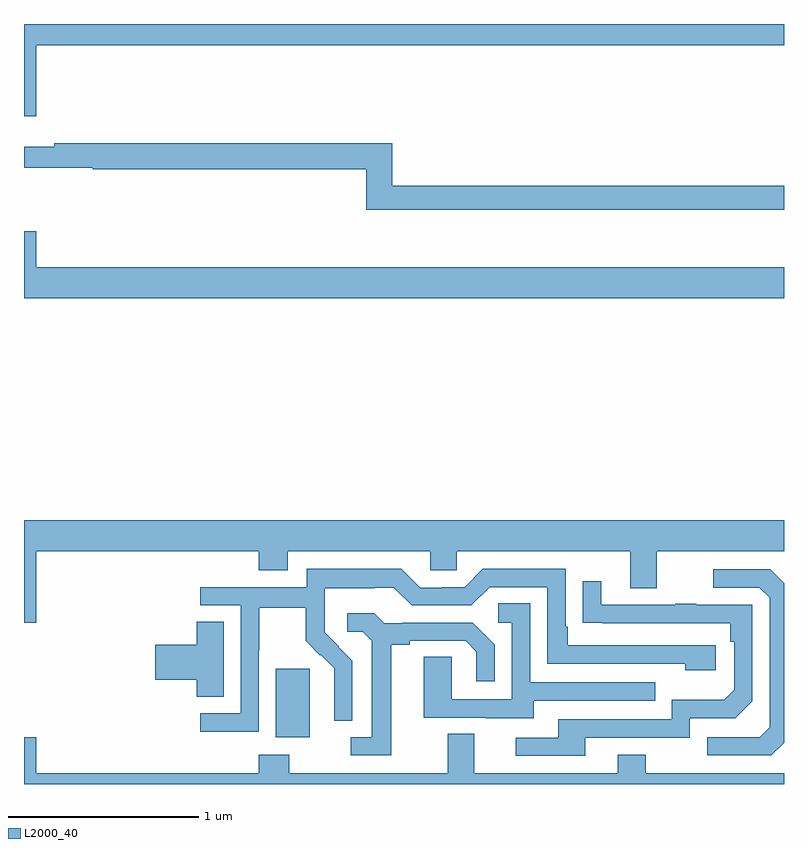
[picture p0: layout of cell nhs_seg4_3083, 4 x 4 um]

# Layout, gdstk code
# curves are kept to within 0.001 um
import gdstk
lib = gdstk.Library(unit=1e-6, precision=1e-09)
def R(c, l, rs):  # rectangles x0, y0, x1, y1
    for r in rs: c.add(gdstk.rectangle(r[:2], r[2:], *l))
def P(c, l, *ps):  # polygons
    for p in ps: c.add(gdstk.Polygon(p, *l))
L2000_40 = (2000, 40)

nhs_seg4_3083 = lib.new_cell('nhs_seg4_3083')
R(nhs_seg4_3083, L2000_40, [(274.325,825.146,274.504,825.507)])
P(nhs_seg4_3083, L2000_40, [(273.064,828.788),(277,828.788),(277,828.9),(273,828.9),(273,828.414),(273.064,828.414)],
  [(277,828.05),(274.937,828.05),(274.937,828.272),(273.16,828.272),(273.16,828.253),(273,828.253),(273,828.144),(273.362,828.144),(273.362,828.136),(274.801,828.136),(274.801,827.922),(277,827.922)],
  [(277,827.62),(273.064,827.62),(273.064,827.809),(273,827.809),(273,827.456),(277,827.456)],
  [(273,825.75),(273.064,825.75),(273.064,826.124),(274.235,826.124),(274.235,826.025),(274.387,826.025),(274.387,826.124),(275.139,826.124),(275.139,826.026),(275.277,826.026),(275.277,826.124),(276.191,826.124),(276.191,825.93),(276.331,825.93),(276.331,826.124),(277,826.124),(277,826.288),(273,826.288)],
  [(274.236,825.604),(274.239,825.604),(274.239,825.828),(274.483,825.828),(274.483,825.653),(274.56,825.576),(274.563,825.579),(274.634,825.509),(274.634,825.386),(274.632,825.386),(274.632,825.232),(274.728,825.232),(274.728,825.55),(274.582,825.698),(274.582,825.795),(274.584,825.795),(274.584,825.929),(274.847,825.929),(274.847,825.933),(274.947,825.933),(275.04,825.84),(275.355,825.84),(275.451,825.936),(275.754,825.936),(275.754,825.534),(276.479,825.534),(276.479,825.5),(276.64,825.5),(276.64,825.63),(275.863,825.63),(275.863,825.727),(275.85,825.727),(275.85,826.032),(275.415,826.032),(275.319,825.936),(275.201,825.936),(275.201,825.933),(275.085,825.933),(274.985,826.033),(274.488,826.033),(274.488,825.936),(273.927,825.936),(273.927,825.84),(274.14,825.84),(274.14,825.273),(273.927,825.273),(273.927,825.175),(274.236,825.175)],
  [(277,825.118),(277,825.956),(276.927,826.029),(276.627,826.029),(276.627,825.933),(276.87,825.933),(276.924,825.879),(276.924,825.198),(276.873,825.147),(276.597,825.147),(276.597,825.051),(276.933,825.051)],
  [(275.953,825.144),(276.504,825.144),(276.504,825.246),(276.744,825.246),(276.834,825.336),(276.834,825.843),(276.539,825.843),(276.539,825.848),(276.427,825.848),(276.427,825.843),(276.037,825.843),(276.037,825.967),(275.941,825.967),(275.941,825.748),(276.718,825.747),(276.718,825.65),(276.738,825.65),(276.738,825.396),(276.685,825.343),(276.408,825.343),(276.408,825.24),(275.813,825.24),(275.813,825.144),(275.589,825.144),(275.589,825.048),(275.953,825.048)],
  [(275.683,825.339),(276.323,825.339),(276.323,825.435),(275.664,825.435),(275.664,825.851),(275.496,825.851),(275.496,825.75),(275.568,825.75),(275.568,825.345),(275.25,825.345),(275.25,825.569),(275.105,825.569),(275.105,825.249),(275.429,825.249),(275.429,825.245),(275.683,825.245)],
  [(274.933,825.632),(275.029,825.632),(275.029,825.654),(275.324,825.654),(275.381,825.597),(275.381,825.441),(275.478,825.441),(275.478,825.634),(275.362,825.75),(274.99,825.75),(274.99,825.747),(274.896,825.747),(274.844,825.799),(274.701,825.799),(274.701,825.702),(274.782,825.702),(274.829,825.655),(274.829,825.147),(274.719,825.147),(274.719,825.051),(274.933,825.051)],
  [(274.051,825.755),(273.908,825.755),(273.908,825.632),(273.69,825.632),(273.69,825.449),(273.908,825.449),(273.908,825.358),(274.051,825.358)],
  [(277,824.956),(276.273,824.956),(276.273,825.055),(276.125,825.055),(276.125,824.956),(275.371,824.956),(275.371,825.164),(275.231,825.164),(275.231,824.956),(274.395,824.956),(274.395,825.055),(274.235,825.055),(274.235,824.956),(273.064,824.956),(273.064,825.145),(273,825.145),(273,824.9),(277,824.9)])

lib.write_gds('nhs_seg4_3083.gds')
